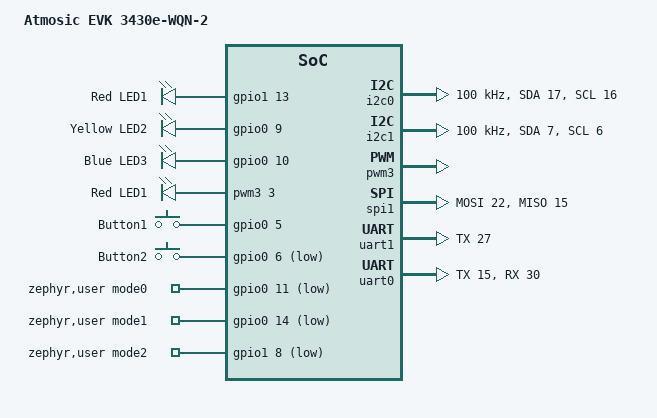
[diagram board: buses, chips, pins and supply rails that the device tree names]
/*
 * Copyright (c) 2021-2024 Atmosic
 *
 * SPDX-License-Identifier: Apache-2.0
 */

/dts-v1/;
#include <arm/atmosic/ATM34xx_ns.dtsi>
#include <dt-bindings/gpio/gpio.h>

/ {
	model = "Atmosic EVK 3430e-WQN-2";
	compatible = "atmosic,ATMEVK-3430e-WQN-2";

	chosen {
		zephyr,console = &uart1;
		zephyr,shell-uart = &uart1;
		zephyr,uart-mcumgr = &uart0;
		zephyr,bt-mon-uart = &uart1;
		zephyr,bt-c2h-uart = &uart0;
		zephyr,sram = &sram0;
		zephyr,flash-controller = &rram_controller;
		zephyr,flash = &rram0;
		zephyr,code-partition = &nspe_partition;
		zephyr,entropy = &trng;
		zephyr,ieee802154 = &ieee802154;
	};

	leds {
		compatible = "gpio-leds";
		led0: led_0 {
			gpios = <&gpio1 13 GPIO_ACTIVE_HIGH>;
			label = "Red LED1";
		};
		led1: led_1 {
			gpios = <&gpio0 9 GPIO_ACTIVE_HIGH>;
			label = "Yellow LED2";
		};
		led2: led_2 {
			gpios = <&gpio0 10 GPIO_ACTIVE_HIGH>;
			label = "Blue LED3";
		};
	};

        pwmleds {
                compatible = "pwm-leds";
                pwm_led0: pwm_led_0 {
                        pwms = <&pwm3 3 PWM_MSEC(1) PWM_POLARITY_NORMAL>;
			label = "Red LED1";
                };
        };

	buttons {
		compatible = "gpio-keys";
		button0: button_0 {
			gpios = <&gpio0 5 GPIO_ACTIVE_HIGH>;
			label = "Button1";
		};
		button1: button_1 {
			gpios = <&gpio0 6 GPIO_ACTIVE_LOW>;
			label = "Button2";
		};
	};

	/* These aliases are provided for compatibility with samples */
	aliases {
		i2c-1 = &i2c0;
		led0 = &led0;
		pwm-0 = &pwm3;
		pwm-led0 = &pwm_led0;
		sw0 = &button0;
	};

	zephyr,user {
		mode0-gpios = <&gpio0 11 GPIO_ACTIVE_LOW>;
		mode1-gpios = <&gpio0 14 GPIO_ACTIVE_LOW>;
		mode2-gpios = <&gpio1 8 GPIO_ACTIVE_LOW>;
	};
};

&flash_controller {
	clk-pin = <32>;
	csn-pin = <36>;
	d0-pin = <31>;
	d1-pin = <35>;
	d2-pin = <34>;
	d3-pin = <33>;
};

&i2c0 {
        sda-pin = <17>;
        scl-pin = <16>;
	clock-frequency = <I2C_BITRATE_STANDARD>;
};

&i2c1 {
        sda-pin = <7>;
        scl-pin = <6>;
	clock-frequency = <I2C_BITRATE_STANDARD>;
};

&pwm3 {
	pin = <29>;
	status = "okay";
};

&spi1 {
        clk-pin = <5>;
        cs-pin = <4>;
        mosi-pin = <22>;
        miso-pin = <15>;
};

&adc {
	ch-cell = <1>;
	ch-batt = <11>;
};

&uart1 {
	tx-pin = <27>;
};

&uart0 {
	rx-pin = <30>;
	tx-pin = <15>;
	rts-pin = <13>;
	cts-pin = <12>;
};

arduino_i2c: &i2c0 {};
arduino_spi: &spi1 {};
